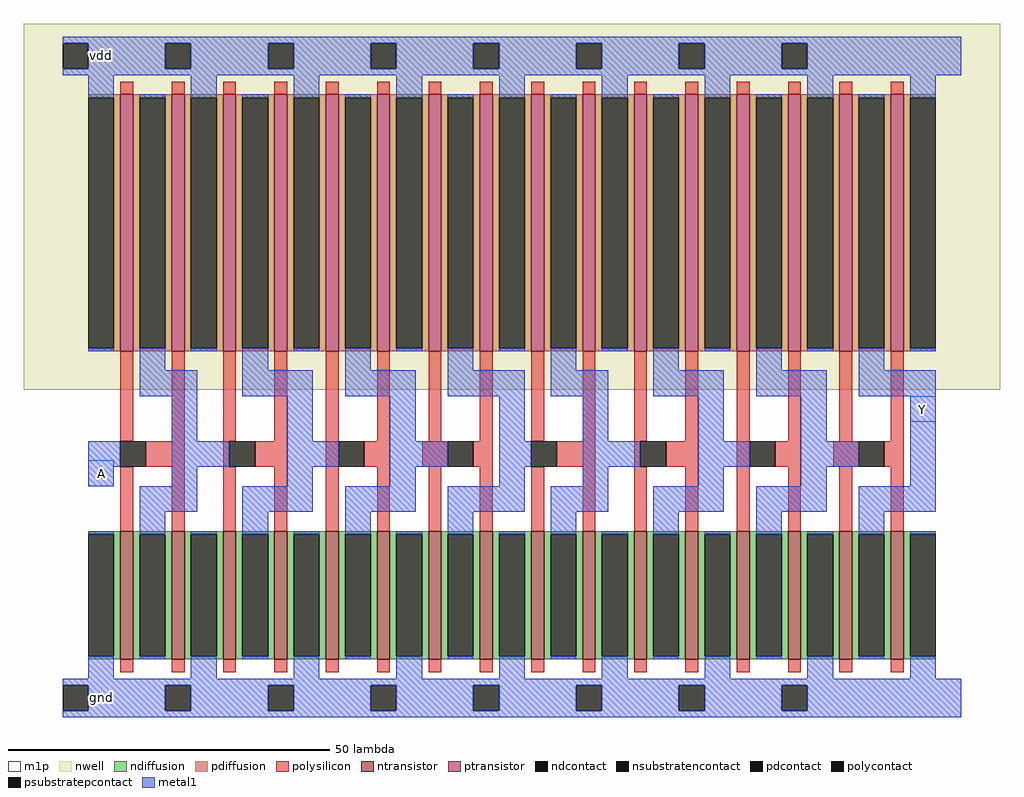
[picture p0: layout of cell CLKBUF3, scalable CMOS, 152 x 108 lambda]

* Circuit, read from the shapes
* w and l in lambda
.subckt CLKBUF3 A Y vdd gnd
M1 n1 A gnd gnd nfet w=20 l=2 m=2
M2 n2 n1 gnd gnd nfet w=20 l=2 m=2
M3 n3 n2 gnd gnd nfet w=20 l=2 m=2
M4 n4 n3 gnd gnd nfet w=20 l=2 m=2
M5 n5 n4 gnd gnd nfet w=20 l=2 m=2
M6 n6 n5 gnd gnd nfet w=20 l=2 m=2
M7 n7 n6 gnd gnd nfet w=20 l=2 m=2
M8 Y n7 gnd gnd nfet w=20 l=2 m=2
M9 n1 A vdd vdd pfet w=40 l=2 m=2
M10 n2 n1 vdd vdd pfet w=40 l=2 m=2
M11 n3 n2 vdd vdd pfet w=40 l=2 m=2
M12 n4 n3 vdd vdd pfet w=40 l=2 m=2
M13 n5 n4 vdd vdd pfet w=40 l=2 m=2
M14 n6 n5 vdd vdd pfet w=40 l=2 m=2
M15 n7 n6 vdd vdd pfet w=40 l=2 m=2
M16 Y n7 vdd vdd pfet w=40 l=2 m=2
.ends

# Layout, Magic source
magic
tech scmos
magscale 1 2
<< nwell >>
rect -16 96 288 210
<< ntransistor >>
rect 14 12 18 52
rect 30 12 34 52
rect 46 12 50 52
rect 62 12 66 52
rect 78 12 82 52
rect 94 12 98 52
rect 110 12 114 52
rect 126 12 130 52
rect 142 12 146 52
rect 158 12 162 52
rect 174 12 178 52
rect 190 12 194 52
rect 206 12 210 52
rect 222 12 226 52
rect 238 12 242 52
rect 254 12 258 52
<< ptransistor >>
rect 14 108 18 188
rect 30 108 34 188
rect 46 108 50 188
rect 62 108 66 188
rect 78 108 82 188
rect 94 108 98 188
rect 110 108 114 188
rect 126 108 130 188
rect 142 108 146 188
rect 158 108 162 188
rect 174 108 178 188
rect 190 108 194 188
rect 206 108 210 188
rect 222 108 226 188
rect 238 108 242 188
rect 254 108 258 188
<< ndiffusion >>
rect 4 51 14 52
rect 12 13 14 51
rect 4 12 14 13
rect 18 51 30 52
rect 18 13 20 51
rect 28 13 30 51
rect 18 12 30 13
rect 34 51 46 52
rect 34 13 36 51
rect 44 13 46 51
rect 34 12 46 13
rect 50 51 62 52
rect 50 13 52 51
rect 60 13 62 51
rect 50 12 62 13
rect 66 51 78 52
rect 66 13 68 51
rect 76 13 78 51
rect 66 12 78 13
rect 82 51 94 52
rect 82 13 84 51
rect 92 13 94 51
rect 82 12 94 13
rect 98 51 110 52
rect 98 13 100 51
rect 108 13 110 51
rect 98 12 110 13
rect 114 51 126 52
rect 114 13 116 51
rect 124 13 126 51
rect 114 12 126 13
rect 130 51 142 52
rect 130 13 132 51
rect 140 13 142 51
rect 130 12 142 13
rect 146 51 158 52
rect 146 13 148 51
rect 156 13 158 51
rect 146 12 158 13
rect 162 51 174 52
rect 162 13 164 51
rect 172 13 174 51
rect 162 12 174 13
rect 178 51 190 52
rect 178 13 180 51
rect 188 13 190 51
rect 178 12 190 13
rect 194 51 206 52
rect 194 13 196 51
rect 204 13 206 51
rect 194 12 206 13
rect 210 51 222 52
rect 210 13 212 51
rect 220 13 222 51
rect 210 12 222 13
rect 226 51 238 52
rect 226 13 228 51
rect 236 13 238 51
rect 226 12 238 13
rect 242 51 254 52
rect 242 13 244 51
rect 252 13 254 51
rect 242 12 254 13
rect 258 51 268 52
rect 258 13 260 51
rect 258 12 268 13
<< pdiffusion >>
rect 4 187 14 188
rect 12 109 14 187
rect 4 108 14 109
rect 18 187 30 188
rect 18 109 20 187
rect 28 109 30 187
rect 18 108 30 109
rect 34 187 46 188
rect 34 109 36 187
rect 44 109 46 187
rect 34 108 46 109
rect 50 187 62 188
rect 50 109 52 187
rect 60 109 62 187
rect 50 108 62 109
rect 66 187 78 188
rect 66 109 68 187
rect 76 109 78 187
rect 66 108 78 109
rect 82 187 94 188
rect 82 109 84 187
rect 92 109 94 187
rect 82 108 94 109
rect 98 187 110 188
rect 98 109 100 187
rect 108 109 110 187
rect 98 108 110 109
rect 114 187 126 188
rect 114 109 116 187
rect 124 109 126 187
rect 114 108 126 109
rect 130 187 142 188
rect 130 109 132 187
rect 140 109 142 187
rect 130 108 142 109
rect 146 187 158 188
rect 146 109 148 187
rect 156 109 158 187
rect 146 108 158 109
rect 162 187 174 188
rect 162 109 164 187
rect 172 109 174 187
rect 162 108 174 109
rect 178 187 190 188
rect 178 109 180 187
rect 188 109 190 187
rect 178 108 190 109
rect 194 187 206 188
rect 194 109 196 187
rect 204 109 206 187
rect 194 108 206 109
rect 210 187 222 188
rect 210 109 212 187
rect 220 109 222 187
rect 210 108 222 109
rect 226 187 238 188
rect 226 109 228 187
rect 236 109 238 187
rect 226 108 238 109
rect 242 187 254 188
rect 242 109 244 187
rect 252 109 254 187
rect 242 108 254 109
rect 258 187 268 188
rect 258 109 260 187
rect 258 108 268 109
<< ndcontact >>
rect 4 13 12 51
rect 20 13 28 51
rect 36 13 44 51
rect 52 13 60 51
rect 68 13 76 51
rect 84 13 92 51
rect 100 13 108 51
rect 116 13 124 51
rect 132 13 140 51
rect 148 13 156 51
rect 164 13 172 51
rect 180 13 188 51
rect 196 13 204 51
rect 212 13 220 51
rect 228 13 236 51
rect 244 13 252 51
rect 260 13 268 51
<< pdcontact >>
rect 4 109 12 187
rect 20 109 28 187
rect 36 109 44 187
rect 52 109 60 187
rect 68 109 76 187
rect 84 109 92 187
rect 100 109 108 187
rect 116 109 124 187
rect 132 109 140 187
rect 148 109 156 187
rect 164 109 172 187
rect 180 109 188 187
rect 196 109 204 187
rect 212 109 220 187
rect 228 109 236 187
rect 244 109 252 187
rect 260 109 268 187
<< psubstratepcontact >>
rect -4 -4 4 4
rect 28 -4 36 4
rect 60 -4 68 4
rect 92 -4 100 4
rect 124 -4 132 4
rect 156 -4 164 4
rect 188 -4 196 4
rect 220 -4 228 4
<< nsubstratencontact >>
rect -4 196 4 204
rect 28 196 36 204
rect 60 196 68 204
rect 92 196 100 204
rect 124 196 132 204
rect 156 196 164 204
rect 188 196 196 204
rect 220 196 228 204
<< polysilicon >>
rect 14 188 18 192
rect 30 188 34 192
rect 46 188 50 192
rect 62 188 66 192
rect 78 188 82 192
rect 94 188 98 192
rect 110 188 114 192
rect 126 188 130 192
rect 142 188 146 192
rect 158 188 162 192
rect 174 188 178 192
rect 190 188 194 192
rect 206 188 210 192
rect 222 188 226 192
rect 238 188 242 192
rect 254 188 258 192
rect 14 80 18 108
rect 30 80 34 108
rect 22 72 34 80
rect 14 52 18 72
rect 30 52 34 72
rect 46 80 50 108
rect 62 80 66 108
rect 46 72 48 80
rect 56 72 66 80
rect 46 52 50 72
rect 62 52 66 72
rect 78 52 82 108
rect 94 80 98 108
rect 110 80 114 108
rect 126 80 130 108
rect 90 72 98 80
rect 108 72 116 80
rect 124 72 130 80
rect 94 52 98 72
rect 110 52 114 72
rect 126 52 130 72
rect 142 80 146 108
rect 158 80 162 108
rect 150 72 162 80
rect 142 52 146 72
rect 158 52 162 72
rect 174 80 178 108
rect 190 80 194 108
rect 174 72 176 80
rect 184 72 194 80
rect 174 52 178 72
rect 190 52 194 72
rect 206 52 210 108
rect 222 80 226 108
rect 238 80 242 108
rect 254 80 258 108
rect 218 72 226 80
rect 236 72 244 80
rect 252 72 258 80
rect 222 52 226 72
rect 238 52 242 72
rect 254 52 258 72
rect 14 8 18 12
rect 30 8 34 12
rect 46 8 50 12
rect 62 8 66 12
rect 78 8 82 12
rect 94 8 98 12
rect 110 8 114 12
rect 126 8 130 12
rect 142 8 146 12
rect 158 8 162 12
rect 174 8 178 12
rect 190 8 194 12
rect 206 8 210 12
rect 222 8 226 12
rect 238 8 242 12
rect 254 8 258 12
<< polycontact >>
rect 14 72 22 80
rect 48 72 56 80
rect 82 72 90 80
rect 116 72 124 80
rect 142 72 150 80
rect 176 72 184 80
rect 210 72 218 80
rect 244 72 252 80
<< metal1 >>
rect -4 204 276 206
rect 4 196 28 204
rect 36 196 60 204
rect 68 196 92 204
rect 100 196 124 204
rect 132 196 156 204
rect 164 196 188 204
rect 196 196 220 204
rect 228 196 276 204
rect -4 194 276 196
rect 4 187 12 194
rect 4 108 12 109
rect 20 187 28 188
rect 20 102 28 109
rect 36 187 44 194
rect 36 108 44 109
rect 52 187 60 188
rect 52 102 60 109
rect 68 187 76 194
rect 68 108 76 109
rect 84 187 92 188
rect 84 102 92 109
rect 100 187 108 194
rect 100 108 108 109
rect 116 187 124 188
rect 116 102 124 109
rect 132 187 140 194
rect 132 108 140 109
rect 148 187 156 188
rect 148 102 156 109
rect 164 187 172 194
rect 164 108 172 109
rect 180 187 188 188
rect 180 102 188 109
rect 196 187 204 194
rect 196 108 204 109
rect 212 187 220 188
rect 212 102 220 109
rect 228 187 236 194
rect 228 108 236 109
rect 244 187 252 188
rect 244 102 252 109
rect 260 187 268 194
rect 260 108 268 109
rect 20 94 38 102
rect 52 94 74 102
rect 84 94 106 102
rect 116 94 140 102
rect 148 94 166 102
rect 180 94 202 102
rect 212 94 234 102
rect 244 94 268 102
rect 30 80 38 94
rect 66 80 74 94
rect 98 80 106 94
rect 132 80 140 94
rect 158 80 166 94
rect 194 80 202 94
rect 226 80 234 94
rect 4 72 14 80
rect 30 72 48 80
rect 66 72 82 80
rect 98 72 116 80
rect 132 72 142 80
rect 158 72 176 80
rect 194 72 210 80
rect 226 72 244 80
rect 4 66 12 72
rect 30 66 38 72
rect 66 66 74 72
rect 98 66 106 72
rect 132 66 140 72
rect 158 66 166 72
rect 194 66 202 72
rect 226 66 234 72
rect 260 66 268 94
rect 20 58 38 66
rect 52 58 74 66
rect 84 58 106 66
rect 116 58 140 66
rect 148 58 166 66
rect 180 58 202 66
rect 212 58 234 66
rect 244 58 268 66
rect 4 51 12 52
rect 4 6 12 13
rect 20 51 28 58
rect 20 12 28 13
rect 36 51 44 52
rect 36 6 44 13
rect 52 51 60 58
rect 52 12 60 13
rect 68 51 76 52
rect 68 6 76 13
rect 84 51 92 58
rect 84 12 92 13
rect 100 51 108 52
rect 100 6 108 13
rect 116 51 124 58
rect 116 12 124 13
rect 132 51 140 52
rect 132 6 140 13
rect 148 51 156 58
rect 148 12 156 13
rect 164 51 172 52
rect 164 6 172 13
rect 180 51 188 58
rect 180 12 188 13
rect 196 51 204 52
rect 196 6 204 13
rect 212 51 220 58
rect 212 12 220 13
rect 228 51 236 52
rect 228 6 236 13
rect 244 51 252 58
rect 244 12 252 13
rect 260 51 268 52
rect 260 6 268 13
rect -4 4 276 6
rect 4 -4 28 4
rect 36 -4 60 4
rect 68 -4 92 4
rect 100 -4 124 4
rect 132 -4 156 4
rect 164 -4 188 4
rect 196 -4 220 4
rect 228 -4 276 4
rect -4 -6 276 -4
<< m1p >>
rect 260 86 268 94
rect 4 66 12 74
<< labels >>
rlabel metal1 8 0 8 0 4 gnd
port 4 se
rlabel metal1 8 200 8 200 4 vdd
port 3 se
rlabel metal1 8 70 8 70 4 A
port 1 se
rlabel metal1 264 90 264 90 4 Y
port 2 se
<< end >>
